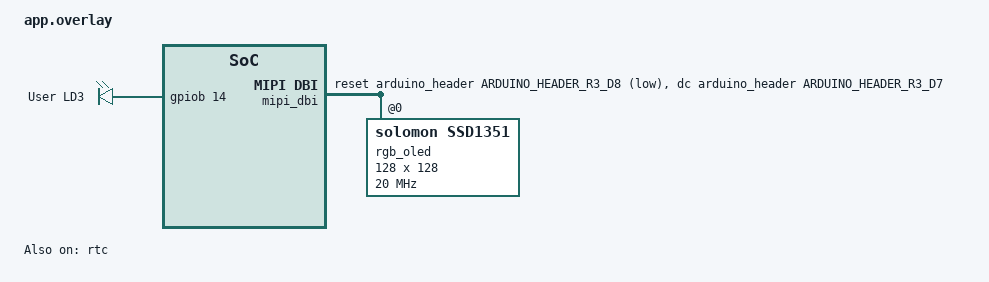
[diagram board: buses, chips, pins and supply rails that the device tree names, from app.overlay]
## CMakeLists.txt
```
cmake_minimum_required(VERSION 3.20.0)
find_package(Zephyr REQUIRED HINTS $ENV{ZEPHYR_BASE})
project(h743_led_lab)
target_sources(app PRIVATE
    src/main.c
    src/app_main.cpp
    src/rtc_service.cpp
    src/rtc_shell.cpp
    src/lvgl_demo.cpp
    src/fpu_demo.cpp
    src/msgq_demo.cpp
    src/cpp_examples.cpp
    src/top_stats.cpp
    src/monitor/top_collector.cpp
    src/monitor/top_renderer.cpp
)

# Подключаем сгенерированные SquareLine Studio 1.6.x файлы (экспортируются в ui/).
# filelist.txt создаётся автоматически при каждом экспорте из редактора.
set(SLS_FILELIST ${CMAKE_CURRENT_SOURCE_DIR}/ui/filelist.txt)
if(EXISTS ${SLS_FILELIST})
    file(STRINGS ${SLS_FILELIST} SLS_SOURCES)
    list(TRANSFORM SLS_SOURCES PREPEND ${CMAKE_CURRENT_SOURCE_DIR}/ui/)
    target_sources(app PRIVATE ${SLS_SOURCES})
    target_include_directories(app PRIVATE ${CMAKE_CURRENT_SOURCE_DIR}/ui)
endif()
 
# Build a minimal loadable extension sample as build/hello_world_ext.llext.
add_llext_target(hello_world_ext
    OUTPUT  ${PROJECT_BINARY_DIR}/hello_world_ext.llext
    SOURCES ${PROJECT_SOURCE_DIR}/llext/hello_world_ext.c
)
```

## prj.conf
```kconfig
CONFIG_GPIO=y
CONFIG_I2C=y
CONFIG_SPI=y
CONFIG_SERIAL=y
CONFIG_CONSOLE=y
CONFIG_UART_CONSOLE=y
CONFIG_PRINTK=y
CONFIG_CPP=y
CONFIG_LOG=y
CONFIG_LOG_MODE_DEFERRED=y
CONFIG_LOG_PROCESS_THREAD=y
CONFIG_LOG_BUFFER_SIZE=4096
CONFIG_LOG_DEFAULT_LEVEL=3
CONFIG_RTC=y
CONFIG_SHELL=y
CONFIG_SHELL_BACKEND_SERIAL=y
CONFIG_CPU_LOAD=y
CONFIG_CPU_LOAD_LOG_PERIODICALLY=0
CONFIG_FPU=y
CONFIG_FPU_SHARING=y
CONFIG_THREAD_MONITOR=y
CONFIG_THREAD_NAME=y
CONFIG_THREAD_STACK_INFO=y
CONFIG_INIT_STACKS=y
CONFIG_THREAD_RUNTIME_STATS=y
CONFIG_SCHED_THREAD_USAGE=y
CONFIG_SCHED_THREAD_USAGE_ALL=y
CONFIG_SYS_HEAP_RUNTIME_STATS=y
CONFIG_MAIN_STACK_SIZE=8192
CONFIG_HEAP_MEM_POOL_SIZE=16384
CONFIG_LLEXT=y
CONFIG_LLEXT_IMPORT_ALL_GLOBALS=y
CONFIG_LLEXT_SHELL=y
CONFIG_LLEXT_HEAP_SIZE=16
CONFIG_SHELL_CMD_BUFF_SIZE=8192
CONFIG_SHELL_BACKEND_SERIAL_RX_RING_BUFFER_SIZE=4096
CONFIG_DCACHE=n
CONFIG_ICACHE=y
# D-cache отключён: SPI DMA требует non-cached буферы. Стековые буферы
# драйвера ssd135x (uint8_t tmp и т.п.) лежат в AXI SRAM — если D-cache
# включён, stm32_buf_in_nocache() их отклоняет. Interrupt-driven SPI
# альтернатива, но даёт 84% CPU на 32KB frame. DCACHE=n → DMA работает
# везде, CPU 28%. I-cache остаётся включённым для ускорения кода.
CONFIG_MEM_ATTR=y
CONFIG_DMA=y
CONFIG_DMA_STM32=y
CONFIG_SPI_STM32_DMA=y
CONFIG_DISPLAY=y
CONFIG_SSD1351=y
CONFIG_SSD135X_DEFAULT_CONTRAST=255
CONFIG_SSD135X_CONTRASTA=255
CONFIG_SSD135X_CONTRASTB=255
CONFIG_SSD135X_CONTRASTC=255
CONFIG_LVGL=y
CONFIG_LV_COLOR_DEPTH_16=y
# Порядок байт RGB565 под SSD1351 (старший байт первым)
CONFIG_LV_COLOR_16_SWAP=y
CONFIG_LV_Z_MEM_POOL_SIZE=65536
CONFIG_LV_FONT_MONTSERRAT_12=y
CONFIG_LV_FONT_MONTSERRAT_14=y
CONFIG_LV_FONT_MONTSERRAT_16=y
CONFIG_LV_FONT_MONTSERRAT_20=y
CONFIG_LV_FONT_MONTSERRAT_26=y
# Полный рефреш: рендерим весь экран за один DMA-проход.
CONFIG_LV_Z_FULL_REFRESH=y
CONFIG_LV_Z_VDB_SIZE=100
# LVGL работает на собственном workqueue — main-тред освобождён
CONFIG_LV_Z_RUN_LVGL_ON_WORKQUEUE=y
CONFIG_LV_Z_LVGL_WORKQUEUE_STACK_SIZE=6144
# Приоритет workqueue ниже main (0), выше LED-тредов (9)
CONFIG_LV_Z_LVGL_WORKQUEUE_PRIORITY=3
# 40 FPS при SPI 40 MHz: transfer 6.5ms + render 3ms = 9.5ms active из 25ms.
# LVGL CPU ~12% вместо ~15%. Для 128×128 40fps абсолютно плавно.
CONFIG_LV_DEF_REFR_PERIOD=25
# Аппаратный акселератор DMA2D на STM32H743
CONFIG_LV_USE_DRAW_DMA2D=y
# Double VDB отключён: SRAM3 = 32 KB = ровно 1 VDB.
# При DMA-режиме CPU всё равно свободен во время передачи.
CONFIG_LV_DRAW_DMA2D_HAL_INCLUDE="stm32h7xx.h"
```

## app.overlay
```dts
#include <zephyr/dt-bindings/gpio/arduino-header-r3.h>
 
&rtc {
	status = "okay";
};
 
&timers12 {
	status = "disabled";
};
 
&leds {
	red_led: led_2 {
		gpios = <&gpiob 14 GPIO_ACTIVE_HIGH>;
		label = "User LD3";
	};
};
 
/ {
	chosen {
		zephyr,display = &rgb_oled;
	};
 
	aliases {
		led2 = &red_led;
	};
 
	mipi_dbi {
		compatible = "zephyr,mipi-dbi-spi";
		spi-dev = <&arduino_spi>;
		dc-gpios = <&arduino_header ARDUINO_HEADER_R3_D7 GPIO_ACTIVE_HIGH>;
		reset-gpios = <&arduino_header ARDUINO_HEADER_R3_D8 GPIO_ACTIVE_LOW>;
		write-only;
		#address-cells = <1>;
		#size-cells = <0>;
 
		rgb_oled: ssd1351@0 {
			compatible = "solomon,ssd1351";
			reg = <0>;
			mipi-mode = "MIPI_DBI_MODE_SPI_4WIRE";
			mipi-max-frequency = <20000000>;
			width = <128>;
			height = <128>;
			display-offset = <0>;
			start-line = <0>;
			multiplex-ratio = <127>;
			phase-length = <0x32>;
			oscillator-freq = <0xF1>;
			precharge-time = <0x08>;
			precharge-voltage = <0x1F>;
			vcomh-voltage = <0x05>;
			current-att = <0x0f>;
			remap-value = <0x74>;
		};
	};
};

/* SPI1 использует interrupt-driven режим (без DMA): D-cache включён,
 * и все буферы (включая стековые в драйвере инициализации дисплея)
 * работают без ограничений. DMA каналы оставлены в overlay для будущего
 * использования (ADC DMA, или если потребуется SPI DMA с nocache буферами).
 */
&arduino_spi {
	dmas = <&dmamux1 5 38 STM32_DMA_PERIPH_TX>,
	       <&dmamux1 6 37 STM32_DMA_PERIPH_RX>;
	dma-names = "tx", "rx";
};

&dma1 {
	status = "okay";
};

&dmamux1 {
	status = "okay";
};
```

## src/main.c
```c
#include <zephyr/kernel.h>
#include <zephyr/logging/log.h>
#include "app_cpp.h"
 
LOG_MODULE_REGISTER(app_entry, LOG_LEVEL_INF);
 
int main(void)
{
	LOG_INF("C entry ready");
	return app_cpp_run();
}
```

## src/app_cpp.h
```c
#pragma once
 
#ifdef __cplusplus
extern "C" {
#endif
 
int app_cpp_run(void);
 
#ifdef __cplusplus
}
#endif
```

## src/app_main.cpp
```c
#include <zephyr/drivers/gpio.h>
#include <zephyr/kernel.h>
#include <zephyr/logging/log.h>
#include <cstdint>
#include "app_cpp.h"
#include "cpp_examples.hpp"
#include "fpu_demo.hpp"
#include "lvgl_demo.hpp"
#include "msgq_demo.hpp"
#include "rtc_service.hpp"
 
#define STATUS_PERIOD_MS 500
#define LVGL_PERIOD_MS 16
#define LED0_BLINK_MS 100
#define LED1_BLINK_MS 250
#define LED2_BLINK_MS 500
#define LED_STACK_SIZE 512
#define LED_THREAD_PRIO 9
 
static const gpio_dt_spec led0 = GPIO_DT_SPEC_GET(DT_ALIAS(led0), gpios);
#if DT_NODE_EXISTS(DT_ALIAS(led1))
static const gpio_dt_spec led1 = GPIO_DT_SPEC_GET(DT_ALIAS(led1), gpios);
#endif
#if DT_NODE_EXISTS(DT_ALIAS(led2))
static const gpio_dt_spec led2 = GPIO_DT_SPEC_GET(DT_ALIAS(led2), gpios);
#endif
 
struct led_ctx {
	const gpio_dt_spec *led;
	uint32_t period_ms;
};
 
K_THREAD_STACK_DEFINE(led0_stack, LED_STACK_SIZE);
static struct k_thread led0_thread;
static struct led_ctx led0_ctx = { .led = &led0, .period_ms = LED0_BLINK_MS };
#if DT_NODE_EXISTS(DT_ALIAS(led1))
K_THREAD_STACK_DEFINE(led1_stack, LED_STACK_SIZE);
static struct k_thread led1_thread;
static struct led_ctx led1_ctx = { .led = &led1, .period_ms = LED1_BLINK_MS };
#endif
#if DT_NODE_EXISTS(DT_ALIAS(led2))
K_THREAD_STACK_DEFINE(led2_stack, LED_STACK_SIZE);
static struct k_thread led2_thread;
static struct led_ctx led2_ctx = { .led = &led2, .period_ms = LED2_BLINK_MS };
#endif
 
LOG_MODULE_REGISTER(app, LOG_LEVEL_INF);
 
static void led_worker(void *p1, void *p2, void *p3)
{
	auto *ctx = static_cast<const struct led_ctx *>(p1);
	ARG_UNUSED(p2);
	ARG_UNUSED(p3);
 
	while (true) {
		(void)gpio_pin_toggle_dt(ctx->led);
		k_msleep(static_cast<int32_t>(ctx->period_ms));
	}
}
 
static void start_led_blinker(struct led_ctx *ctx, struct k_thread *thread, k_thread_stack_t *stack,
			      size_t stack_size, const char *name)
{
	if (!gpio_is_ready_dt(ctx->led)) {
		LOG_WRN("%s is not ready", name);
		return;
	}
 
	if (gpio_pin_configure_dt(ctx->led, GPIO_OUTPUT_INACTIVE) < 0) {
		LOG_WRN("Failed to configure %s", name);
		return;
	}
 
	k_thread_create(thread, stack, stack_size, led_worker, ctx, nullptr, nullptr, LED_THREAD_PRIO, 0,
			K_NO_WAIT);
	k_thread_name_set(thread, name);
}
 
int app_cpp_run(void)
{
	uint32_t ticks = 0;
	uint32_t status_ticks = 0;
 
	if (!rtc_service_init()) {
		return 0;
	}
 
	// start_fpu_demo();
	// start_msgq_demo();
	lvgl_demo_init();
	start_led_blinker(&led0_ctx, &led0_thread, led0_stack, K_THREAD_STACK_SIZEOF(led0_stack),
			  "led0_100ms");
#if DT_NODE_EXISTS(DT_ALIAS(led1))
	start_led_blinker(&led1_ctx, &led1_thread, led1_stack, K_THREAD_STACK_SIZEOF(led1_stack),
			  "led1_250ms");
#else
	LOG_WRN("led1 alias is missing in devicetree");
#endif
#if DT_NODE_EXISTS(DT_ALIAS(led2))
	start_led_blinker(&led2_ctx, &led2_thread, led2_stack, K_THREAD_STACK_SIZEOF(led2_stack),
			  "led2_500ms");
#else
	LOG_WRN("led2 alias is missing in devicetree");
#endif
	LOG_INF("C++ demos started");
 
	while (true) {
		ticks += LVGL_PERIOD_MS;
		status_ticks += LVGL_PERIOD_MS;
		lvgl_demo_tick(ticks);
		if (status_ticks >= STATUS_PERIOD_MS) {
			status_ticks = 0;
			cpp_examples_tick(ticks / STATUS_PERIOD_MS);
		}
 
		k_msleep(LVGL_PERIOD_MS);
	}
}
```

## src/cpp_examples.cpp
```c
#include "cpp_examples.hpp"
#include <zephyr/kernel.h>
#include <zephyr/logging/log.h>
 
LOG_MODULE_REGISTER(cpp_examples, LOG_LEVEL_INF);
 
namespace {
float avg4(const float *items)
{
	float sum = 0.0F;
	for (int i = 0; i < 4; ++i) {
		sum += items[i];
	}
	return sum / 4.0F;
}
 
class ScopedElapsedMs {
public:
	ScopedElapsedMs(int64_t *out_elapsed) : started_ms_(k_uptime_get()), out_elapsed_(out_elapsed) {}
	~ScopedElapsedMs()
	{
		if (out_elapsed_ != nullptr) {
			*out_elapsed_ = k_uptime_get() - started_ms_;
		}
	}
 
private:
	int64_t started_ms_;
	int64_t *out_elapsed_;
};
} // namespace
 
void cpp_examples_tick(uint32_t tick)
{
	int64_t elapsed = 0;
	const float samples[4] = {1.0F, 2.0F, 3.0F, static_cast<float>(tick % 10U)};
	const float mean = avg4(samples);
 
	{
		ScopedElapsedMs elapsed_scope(&elapsed);
		k_busy_wait(200);
	}
 
	ARG_UNUSED(tick);
	ARG_UNUSED(mean);
	ARG_UNUSED(elapsed);
}
```

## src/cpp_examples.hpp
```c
#pragma once
 
#include <cstdint>
 
void cpp_examples_tick(uint32_t tick);
```

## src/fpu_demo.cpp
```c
#include "fpu_demo.hpp"
#include <zephyr/kernel.h>
#include <zephyr/logging/log.h>
#include <math.h>
#include <cstdint>
 
#define FPU_STACK_SIZE 2048
#define FPU_THREAD_PRIO 6
#define FPU_WORK_ITERATIONS 800
 
LOG_MODULE_REGISTER(fpu_demo, LOG_LEVEL_INF);
 
K_THREAD_STACK_DEFINE(fpu_stack_a, FPU_STACK_SIZE);
K_THREAD_STACK_DEFINE(fpu_stack_b, FPU_STACK_SIZE);
static struct k_thread fpu_thread_a;
static struct k_thread fpu_thread_b;
static volatile float fpu_sink_a;
static volatile float fpu_sink_b;
static bool fpu_started;
 
static void fpu_worker(void *p1, void *p2, void *p3)
{
	constexpr float two_pi = 6.2831853F;
	float angle = static_cast<float>(reinterpret_cast<intptr_t>(p1)) * 0.37F;
	volatile float *const sink = reinterpret_cast<volatile float *>(p2);
	ARG_UNUSED(p3);
 
	while (true) {
		float acc = 0.0F;
 
		for (int i = 0; i < FPU_WORK_ITERATIONS; ++i) {
			angle += 0.011F;
			if (angle > two_pi) {
				angle -= two_pi;
			}
			acc += sinf(angle) * cosf(angle * 0.73F);
			acc += sqrtf(1.0F + (angle * 0.25F));
		}
 
		*sink = acc;
		k_msleep(10);
	}
}
 
void start_fpu_demo()
{
	if (fpu_started) {
		return;
	}
 
	k_thread_create(&fpu_thread_a, fpu_stack_a, K_THREAD_STACK_SIZEOF(fpu_stack_a), fpu_worker,
			reinterpret_cast<void *>(1), const_cast<float *>(&fpu_sink_a), nullptr,
			FPU_THREAD_PRIO, K_FP_REGS, K_NO_WAIT);
	k_thread_name_set(&fpu_thread_a, "fpu_a");
 
	k_thread_create(&fpu_thread_b, fpu_stack_b, K_THREAD_STACK_SIZEOF(fpu_stack_b), fpu_worker,
			reinterpret_cast<void *>(2), const_cast<float *>(&fpu_sink_b), nullptr,
			FPU_THREAD_PRIO, K_FP_REGS, K_NO_WAIT);
	k_thread_name_set(&fpu_thread_b, "fpu_b");
 
	fpu_started = true;
	LOG_INF("FPU threads started");
}
```

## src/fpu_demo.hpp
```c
#pragma once
 
void start_fpu_demo();
```

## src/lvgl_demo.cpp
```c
/* LVGL-демо для SSD1351 128×128 на STM32H743.
 * Отображает загрузку CPU и FPS на экране, построенном в SquareLine Studio.
 * Shell-команда `oled` позволяет менять цвет фона и смотреть статистику.
 */
#include "lvgl_demo.hpp"
#include <zephyr/device.h>
#include <zephyr/drivers/display.h>
#include <zephyr/debug/cpu_load.h>
#include <zephyr/logging/log.h>
#include <zephyr/shell/shell.h>
#include <lvgl.h>
#include <lvgl_zephyr.h>
/* Зephyr собирается с -nostdinc++, C++-заголовки недоступны — используем C. */
#include <stdio.h>
#include <stdlib.h>
#include <errno.h>
#include <string.h>
#include "ui.h"
#include "rtc_service.hpp"

LOG_MODULE_REGISTER(lvgl_demo, LOG_LEVEL_INF);

/* ---- синглтон ------------------------------------------------------------ */

LvglDemo &LvglDemo::instance()
{
    static LvglDemo inst;
    return inst;
}

/* ---- private: настройка виджетов ----------------------------------------- */

void LvglDemo::setup_widgets()
{
    /* Явный локальный стиль фона имеет приоритет над тинтом темы SLS. */
    lv_obj_set_style_bg_color(ui_Screen1, lv_color_hex(bg_color_), LV_STATE_DEFAULT);
    lv_obj_set_style_bg_opa(ui_Screen1, LV_OPA_COVER, LV_STATE_DEFAULT);

    /* Диапазон дуги: 0..100 (проценты CPU). */
    lv_arc_set_range(ui_Arc1, 0, 100);
    lv_arc_set_value(ui_Arc1, 0);

    /* Начальные значения виджетов. */
    lv_label_set_text(ui_lCpu,  "--%");
    lv_label_set_text(ui_lTime, "--:--");
    lv_label_set_text(ui_timel, "--");
}

/* ---- private: замер CPU -------------------------------------------------- */

uint8_t LvglDemo::sample_cpu()
{
    int32_t raw = cpu_load_get(false);
    if (raw < 0) {
        raw = 0;
    }
    cpu_permille_ = static_cast<uint16_t>(raw);
    return static_cast<uint8_t>(cpu_permille_ / 10U);  /* permille → percent */
}

/* ---- private: обновление виджетов ---------------------------------------- */

void LvglDemo::update_widgets(uint8_t cpu_pct, uint16_t fps)
{
    ARG_UNUSED(fps);

    /* Читаем время из RTC до захвата мьютекса LVGL. */
    struct rtc_time t = {};
    const bool has_time = rtc_service_get(&t);

    char cpu_buf[8];
    (void)snprintf(cpu_buf, sizeof(cpu_buf), "%u%%",
        static_cast<unsigned>(cpu_pct));

    char hhmm_buf[8];
    char sec_buf[4];
    if (has_time) {
        (void)snprintf(hhmm_buf, sizeof(hhmm_buf), "%02d:%02d",
            t.tm_hour, t.tm_min);
        (void)snprintf(sec_buf, sizeof(sec_buf), "%02d", t.tm_sec);
    } else {
        (void)snprintf(hhmm_buf, sizeof(hhmm_buf), "--:--");
        (void)snprintf(sec_buf,  sizeof(sec_buf),  "--");
    }

    lvgl_lock();
    lv_arc_set_value(ui_Arc1,  cpu_pct);
    lv_label_set_text(ui_lCpu,  cpu_buf);
    lv_label_set_text(ui_lTime, hhmm_buf);
    lv_label_set_text(ui_timel, sec_buf);
    lvgl_unlock();
}

/* ---- public: init --------------------------------------------------------- */

void LvglDemo::init()
{
    const struct device *disp = DEVICE_DT_GET(DT_CHOSEN(zephyr_display));
    if (!device_is_ready(disp)) {
        LOG_WRN("Display device is not ready");
        return;
    }

    lvgl_lock();
    ui_init();
    setup_widgets();
    lvgl_unlock();

    (void)display_blanking_off(disp);
    ready_ = true;
    LOG_INF("LVGL demo initialized");
}

/* ---- public: tick --------------------------------------------------------- */

void LvglDemo::tick(uint32_t tick_ms)
{
    if (!ready_) {
        return;
    }

    fps_count_++;

    /* Обновляем виджеты раз в 500 мс. */
    if ((tick_ms - fps_last_ms_) < 500U) {
        return;
    }
    fps_current_  = static_cast<uint16_t>(fps_count_ * 2U);  /* *2 т.к. 500 мс */
    fps_count_    = 0;
    fps_last_ms_  = tick_ms;

    const uint8_t cpu_pct = sample_cpu();
    update_widgets(cpu_pct, fps_current_);
}

/* ---- public: set_bg_color ------------------------------------------------- */

void LvglDemo::set_bg_color(uint32_t rgb_hex)
{
    bg_color_ = rgb_hex;
    if (!ready_) {
        return;
    }
    lvgl_lock();
    lv_obj_set_style_bg_color(ui_Screen1, lv_color_hex(rgb_hex), LV_STATE_DEFAULT);
    lv_obj_set_style_bg_opa(ui_Screen1, LV_OPA_COVER, LV_STATE_DEFAULT);
    lvgl_unlock();
}

/* ---- public: print_stats -------------------------------------------------- */

void LvglDemo::print_stats(const struct shell *sh) const
{
    shell_print(sh, "ready      : %s",   ready_ ? "yes" : "no");
    shell_print(sh, "cpu        : %u.%u%%",
        static_cast<unsigned>(cpu_permille_ / 10U),
        static_cast<unsigned>(cpu_permille_ % 10U));
    shell_print(sh, "fps        : %u",   static_cast<unsigned>(fps_current_));
    shell_print(sh, "bg_color   : #%06x", static_cast<unsigned>(bg_color_));
}

/* ---- C API --------------------------------------------------------------- */

void lvgl_demo_init()               { LvglDemo::instance().init(); }
void lvgl_demo_tick(uint32_t ms)    { LvglDemo::instance().tick(ms); }

/* ---- Shell: oled bg RRGGBB / oled info ----------------------------------- */

static int cmd_oled_bg(const struct shell *sh, size_t argc, char **argv)
{
    if (argc != 2) {
        shell_error(sh, "Использование: oled bg RRGGBB");
        return -EINVAL;
    }

    char *end = nullptr;
    errno = 0;
    unsigned long color = strtoul(argv[1], &end, 16);
    if (errno != 0 || *end != '\0' || color > 0xFFFFFFUL) {
        shell_error(sh, "Неверный цвет: 6 hex-цифр, напр. 04080f");
        return -EINVAL;
    }

    LvglDemo::instance().set_bg_color(static_cast<uint32_t>(color));
    shell_print(sh, "bg = #%06lx", color);
    return 0;
}

static int cmd_oled_info(const struct shell *sh, size_t argc, char **argv)
{
    ARG_UNUSED(argc);
    ARG_UNUSED(argv);
    LvglDemo::instance().print_stats(sh);
    return 0;
}

SHELL_STATIC_SUBCMD_SET_CREATE(sub_oled,
    SHELL_CMD(bg,   NULL, "Цвет фона экрана (RRGGBB)", cmd_oled_bg),
    SHELL_CMD(info, NULL, "Статистика CPU/FPS",         cmd_oled_info),
    SHELL_SUBCMD_SET_END
);

SHELL_CMD_REGISTER(oled, &sub_oled, "OLED LVGL команды", NULL);
```

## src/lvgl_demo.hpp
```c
#pragma once
#include <cstdint>

struct shell;

/* Управляет LVGL-экраном: инициализация SLS-UI, обновление виджетов.
 * Используется как синглтон — один дисплей, один экземпляр. */
class LvglDemo {
public:
    /* Доступ к единственному экземпляру. */
    static LvglDemo &instance();

    /* Инициализирует дисплей и SLS-UI. Вызывать один раз при старте. */
    void init();

    /* Вызывается каждые ~16 мс из главного потока. */
    void tick(uint32_t tick_ms);

    /* Устанавливает цвет фона экрана (RGB hex, напр. 0x04080f). */
    void set_bg_color(uint32_t rgb_hex);

    /* Выводит текущую статистику в Shell. */
    void print_stats(const struct shell *sh) const;

private:
    LvglDemo() = default;

    /* Настраивает начальные значения SLS-виджетов после ui_init(). */
    void setup_widgets();

    /* Считывает загрузку CPU, возвращает проценты (0..100). */
    uint8_t sample_cpu();

    /* Обновляет ui_Arc1 и ui_Label1 под lvgl_lock. */
    void update_widgets(uint8_t cpu_pct, uint16_t fps);

    bool     ready_        {false};
    uint32_t fps_count_    {0};
    uint32_t fps_last_ms_  {0};
    uint16_t fps_current_  {0};
    uint16_t cpu_permille_ {0};
    uint32_t bg_color_     {0x04080f};
};

/* C-совместимый API: вызывается из app_main.cpp. */
void lvgl_demo_init();
void lvgl_demo_tick(uint32_t tick_ms);
```

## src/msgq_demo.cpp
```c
#include "msgq_demo.hpp"
#include <zephyr/kernel.h>
#include <zephyr/logging/log.h>
#include <cstdint>
 
#define MSGQ_STACK_SIZE 1024
#define MSGQ_THREAD_PRIO 7
LOG_MODULE_REGISTER(msgq_demo, LOG_LEVEL_INF);
 
K_MSGQ_DEFINE(cpp_msgq, sizeof(uint32_t), 16, 4);
K_THREAD_STACK_DEFINE(msgq_prod_stack, MSGQ_STACK_SIZE);
K_THREAD_STACK_DEFINE(msgq_cons_stack, MSGQ_STACK_SIZE);
static struct k_thread msgq_prod_thread;
static struct k_thread msgq_cons_thread;
static bool msgq_started;
 
static void producer(void *p1, void *p2, void *p3)
{
	uint32_t seq = 0;
	ARG_UNUSED(p1);
	ARG_UNUSED(p2);
	ARG_UNUSED(p3);
 
	while (true) {
		++seq;
		(void)k_msgq_put(&cpp_msgq, &seq, K_NO_WAIT);
		k_msleep(250);
	}
}
 
static void consumer(void *p1, void *p2, void *p3)
{
	uint32_t value;
	ARG_UNUSED(p1);
	ARG_UNUSED(p2);
	ARG_UNUSED(p3);
 
	while (true) {
		(void)k_msgq_get(&cpp_msgq, &value, K_FOREVER);
	}
}
 
void start_msgq_demo()
{
	if (msgq_started) {
		return;
	}
 
	k_thread_create(&msgq_prod_thread, msgq_prod_stack, K_THREAD_STACK_SIZEOF(msgq_prod_stack),
			producer, NULL, NULL, NULL, MSGQ_THREAD_PRIO, 0, K_NO_WAIT);
	k_thread_name_set(&msgq_prod_thread, "msgq_prod");
 
	k_thread_create(&msgq_cons_thread, msgq_cons_stack, K_THREAD_STACK_SIZEOF(msgq_cons_stack),
			consumer, NULL, NULL, NULL, MSGQ_THREAD_PRIO, 0, K_NO_WAIT);
	k_thread_name_set(&msgq_cons_thread, "msgq_cons");
 
	msgq_started = true;
	LOG_INF("Message queue demo started");
}
```

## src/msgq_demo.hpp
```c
#pragma once
 
void start_msgq_demo();
```

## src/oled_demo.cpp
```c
#include "oled_demo.hpp"
#include <zephyr/device.h>
#include <zephyr/drivers/display.h>
#include <zephyr/logging/log.h>
#include <zephyr/shell/shell.h>
#include <zephyr/sys/util.h>
#include <errno.h>
#include <cstdint>
#include <stdlib.h>
#include <string.h>
 
LOG_MODULE_REGISTER(oled_demo, LOG_LEVEL_INF);
 
#define OLED_COLOR_ORDER_RGB 0
#define OLED_COLOR_ORDER_RBG 1
#define OLED_COLOR_ORDER_BRG 2
/* Service override for this panel revision. */
#define OLED_COLOR_ORDER OLED_COLOR_ORDER_BRG
 
static const struct device *display_dev = DEVICE_DT_GET(DT_CHOSEN(zephyr_display));
static struct display_capabilities display_caps;
static bool oled_ready;
static uint16_t framebuf[128 * 128];
static uint8_t oled_brightness = 255;
 
enum oled_test_mode {
	OLED_TEST_ANIM = 0,
	OLED_TEST_RED,
	OLED_TEST_GREEN,
	OLED_TEST_BLUE,
	OLED_TEST_WHITE,
	OLED_TEST_BLACK,
	OLED_TEST_OFF,
};
 
static enum oled_test_mode test_mode = OLED_TEST_ANIM;
 
static uint16_t rgb565(uint8_t r, uint8_t g, uint8_t b)
{
	#if OLED_COLOR_ORDER == OLED_COLOR_ORDER_RGB
	return (uint16_t)(((r & 0xF8U) << 8) | ((g & 0xFCU) << 3) | ((b & 0xF8U) >> 3));
	#elif OLED_COLOR_ORDER == OLED_COLOR_ORDER_RBG
	return (uint16_t)(((r & 0xF8U) << 8) | ((b & 0xFCU) << 3) | ((g & 0xF8U) >> 3));
	#else
	/* This panel variant maps channels as B-R-G in 565 transfer order. */
	return (uint16_t)(((b & 0xF8U) << 8) | ((r & 0xFCU) << 3) | ((g & 0xF8U) >> 3));
	#endif
}
 
void oled_demo_init()
{
	if (!device_is_ready(display_dev)) {
		LOG_WRN("OLED device is not ready");
		return;
	}
 
	display_get_capabilities(display_dev, &display_caps);
	if ((display_caps.x_resolution * display_caps.y_resolution) > ARRAY_SIZE(framebuf)) {
		LOG_WRN("OLED frame buffer is too small for %ux%u",
			display_caps.x_resolution, display_caps.y_resolution);
		return;
	}
 
	if (display_set_pixel_format(display_dev, PIXEL_FORMAT_RGB_565) != 0) {
		LOG_WRN("RGB565 pixel format is not supported");
		return;
	}
	(void)display_set_contrast(display_dev, oled_brightness);
 
	oled_ready = true;
	LOG_INF("RGB OLED initialized: %ux%u", display_caps.x_resolution, display_caps.y_resolution);
}
 
void oled_demo_tick(uint32_t tick)
{
	struct display_buffer_descriptor desc = {};
	uint16_t width;
	uint16_t height;
	uint16_t bar_x;
 
	if (!oled_ready) {
		return;
	}
 
	width = display_caps.x_resolution;
	height = display_caps.y_resolution;
	bar_x = (uint16_t)(tick % width);
 
	if (test_mode == OLED_TEST_OFF) {
		return;
	}
 
	if (test_mode != OLED_TEST_ANIM) {
		uint16_t color = rgb565(0, 0, 0);
		if (test_mode == OLED_TEST_RED) {
			color = rgb565(255, 0, 0);
		} else if (test_mode == OLED_TEST_GREEN) {
			color = rgb565(0, 255, 0);
		} else if (test_mode == OLED_TEST_BLUE) {
			color = rgb565(0, 0, 255);
		} else if (test_mode == OLED_TEST_WHITE) {
			color = rgb565(255, 255, 255);
		}
		for (size_t i = 0; i < ARRAY_SIZE(framebuf); ++i) {
			framebuf[i] = color;
		}
	} else {
		memset(framebuf, 0, sizeof(framebuf));
 
		for (uint16_t y = 0; y < height; ++y) {
			for (uint16_t x = 0; x < width; ++x) {
				size_t idx = x + ((size_t)y * width);
				bool border = (x == 0U) || (x == (width - 1U)) || (y == 0U) || (y == (height - 1U));
				bool bar = (x == bar_x) || (x == ((bar_x + 1U) % width));
				uint8_t r = (uint8_t)((x * 2U + tick) & 0xFFU);
				uint8_t g = (uint8_t)((y * 2U + tick) & 0xFFU);
				uint8_t b = (uint8_t)(((x + y) + tick * 3U) & 0xFFU);
				uint16_t color = rgb565(r, g, b);
				if (border) {
					color = rgb565(255, 255, 255);
				}
				if (bar) {
					color = rgb565(255, 64, 0);
				}
				framebuf[idx] = color;
			}
		}
	}
 
	desc.buf_size = width * height * sizeof(uint16_t);
	desc.width = width;
	desc.height = height;
	desc.pitch = width;
	desc.frame_incomplete = false;
 
	(void)display_write(display_dev, 0, 0, &desc, framebuf);
}
 
static int cmd_oled_status(const struct shell *sh, size_t argc, char **argv)
{
	ARG_UNUSED(argc);
	ARG_UNUSED(argv);
	shell_print(sh, "ready=%d mode=%d brightness=%u res=%ux%u",
		    oled_ready ? 1 : 0, (int)test_mode,
		    oled_brightness,
		    display_caps.x_resolution, display_caps.y_resolution);
	return 0;
}
 
static int cmd_oled_anim(const struct shell *sh, size_t argc, char **argv)
{
	ARG_UNUSED(argc);
	ARG_UNUSED(argv);
	test_mode = OLED_TEST_ANIM;
	shell_print(sh, "OLED mode: animation");
	return 0;
}
 
static int cmd_oled_off(const struct shell *sh, size_t argc, char **argv)
{
	ARG_UNUSED(argc);
	ARG_UNUSED(argv);
	test_mode = OLED_TEST_OFF;
	shell_print(sh, "OLED mode: off");
	return 0;
}
 
static int cmd_oled_solid(const struct shell *sh, size_t argc, char **argv)
{
	if (argc != 2) {
		shell_error(sh, "Usage: oled solid <r|g|b|w|k>");
		return -EINVAL;
	}
 
	switch (argv[1][0]) {
	case 'r':
		test_mode = OLED_TEST_RED;
		break;
	case 'g':
		test_mode = OLED_TEST_GREEN;
		break;
	case 'b':
		test_mode = OLED_TEST_BLUE;
		break;
	case 'w':
		test_mode = OLED_TEST_WHITE;
		break;
	case 'k':
		test_mode = OLED_TEST_BLACK;
		break;
	default:
		shell_error(sh, "Unknown color");
		return -EINVAL;
	}
 
	shell_print(sh, "OLED mode: solid");
	return 0;
}
 
static int cmd_oled_brightness(const struct shell *sh, size_t argc, char **argv)
{
	char *end = NULL;
	long val;
 
	if (argc != 2) {
		shell_error(sh, "Usage: oled brightness <0..255>");
		return -EINVAL;
	}
 
	val = strtol(argv[1], &end, 10);
	if ((end == argv[1]) || (*end != '\0') || (val < 0) || (val > 255)) {
		shell_error(sh, "Brightness must be 0..255");
		return -EINVAL;
	}
 
	oled_brightness = (uint8_t)val;
	if (oled_ready) {
		(void)display_set_contrast(display_dev, oled_brightness);
	}
	shell_print(sh, "OLED brightness: %u", oled_brightness);
	return 0;
}
 
SHELL_STATIC_SUBCMD_SET_CREATE(sub_oled,
	SHELL_CMD(status, NULL, "OLED status", cmd_oled_status),
	SHELL_CMD(anim, NULL, "OLED animation test", cmd_oled_anim),
	SHELL_CMD(off, NULL, "OLED off", cmd_oled_off),
	SHELL_CMD(brightness, NULL, "OLED brightness 0..255", cmd_oled_brightness),
	SHELL_CMD(solid, NULL, "OLED solid color (r|g|b|w|k)", cmd_oled_solid),
	SHELL_SUBCMD_SET_END
);
SHELL_CMD_REGISTER(oled, &sub_oled, "OLED test commands", NULL);
```

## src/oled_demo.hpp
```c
#pragma once
 
#include <cstdint>
 
void oled_demo_init();
void oled_demo_tick(uint32_t tick);
```
